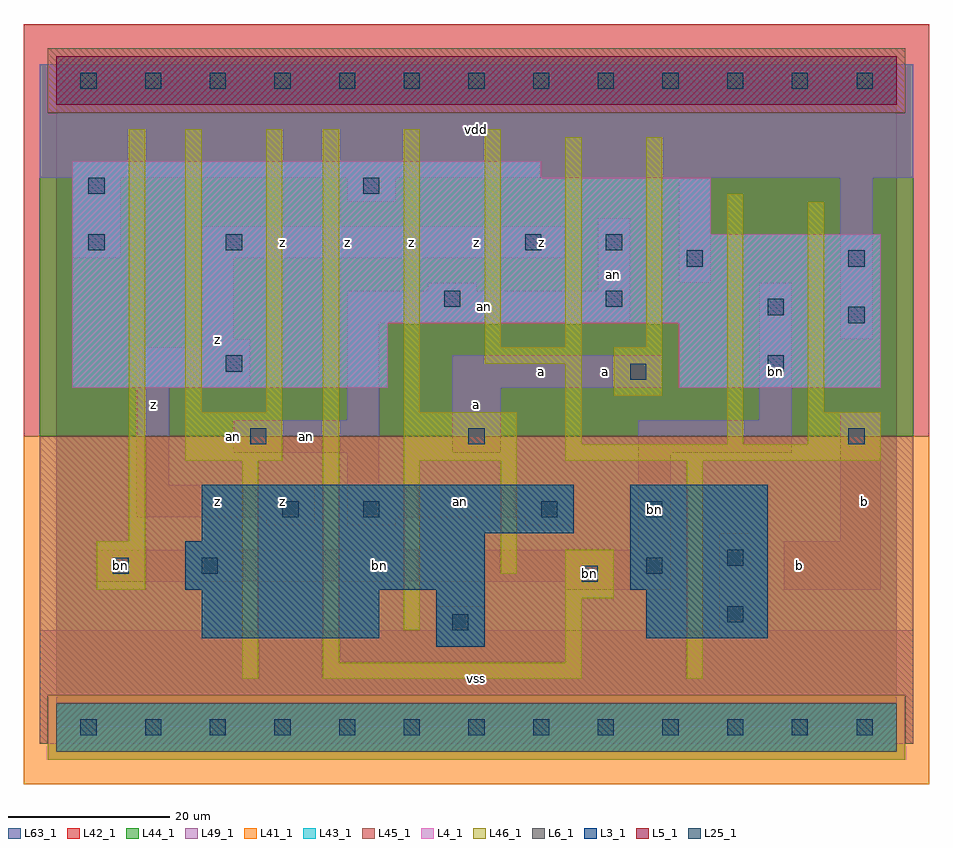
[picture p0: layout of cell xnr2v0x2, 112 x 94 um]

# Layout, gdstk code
import gdstk
lib = gdstk.Library(unit=1e-6, precision=1e-09)
def R(c, l, rs):  # rectangles x0, y0, x1, y1
    for r in rs: c.add(gdstk.rectangle(r[:2], r[2:], *l))
def A(c, l, x, y, w, h, nx, ny, dx, dy):  # array of equal rectangles
    R(c, l, [(x+i*dx, y+j*dy, x+i*dx+w, y+j*dy+h) for i in range(nx) for j in range(ny)])
L3_1 = (3, 1)
L4_1 = (4, 1)
L5_1 = (5, 1)
L6_1 = (6, 1)
L25_1 = (25, 1)
L41_1 = (41, 1)
L42_1 = (42, 1)
L43_1 = (43, 1)
L44_1 = (44, 1)
L45_1 = (45, 1)
L46_1 = (46, 1)
L49_1 = (49, 1)
L63_1 = (63, 1)

xnr2v0x2 = lib.new_cell('xnr2v0x2')
R(xnr2v0x2, L3_1, [(47,10,53,17), (18,11,40,17), (73,11,88,17), (16,17,53,23), (71,17,88,30), (18,23,53,24), (18,24,64,30)])
R(xnr2v0x2, L4_1, [(2,42,41,50), (77,42,102,50), (2,50,102,61), (2,61,81,68), (2,68,60,70)])
R(xnr2v0x2, L5_1, [(0,77,104,83)])
R(xnr2v0x2, L6_1, [(0,-3,104,3), (0,-3,104,3)])
A(xnr2v0x2, L25_1, 3, -1, 2, 2, 13, 2, 8, 80)
R(xnr2v0x2, L25_1, [(49,12,51,14), (83,13,85,15), (65,18,67,20), (7,19,9,21), (18,19,20,21), (73,19,75,21), (83,20,85,22), (28,26,30,28), (38,26,40,28), (60,26,62,28), (73,26,75,28), (24,35,26,37), (51,35,53,37), (98,35,100,37), (71,43,73,45), (21,44,23,46), (88,44,90,46), (98,50,100,52), (88,51,90,53), (48,52,50,54), (68,52,70,54), (78,57,80,59), (98,57,100,59), (4,59,6,61), (21,59,23,61), (58,59,60,61), (68,59,70,61), (4,66,6,68), (38,66,40,68)])
R(xnr2v0x2, L41_1, [(-4,-7,108,36)])
R(xnr2v0x2, L42_1, [(-4,36,108,87)])
R(xnr2v0x2, L43_1, [(0,-3,104,3), (47,10,53,17), (18,11,40,17), (73,11,88,17), (16,17,53,23), (71,17,88,30), (18,23,53,24), (18,24,64,30), (2,42,41,50), (77,42,102,50), (2,50,102,61), (2,61,81,68), (2,68,60,70), (0,77,104,83)])
R(xnr2v0x2, L44_1, [(-1,-4,105,4), (-2,36,106,76), (-2,76,-1,82), (105,76,106,82)])
R(xnr2v0x2, L45_1, [(-2,-2,-1,4), (105,-2,106,4), (-2,4,106,36), (-1,76,105,84)])
R(xnr2v0x2, L46_1, [(23,6,25,33), (33,6,65,8), (78,6,80,33), (33,8,35,74), (63,8,65,16), (43,12,45,33), (63,16,69,22), (5,17,11,23), (55,19,57,33), (9,23,11,74), (16,33,28,39), (43,33,57,39), (63,33,102,35), (63,35,65,45), (83,35,85,66), (93,35,102,39), (16,39,18,74), (26,39,28,74), (43,39,45,74), (93,39,95,65), (69,41,75,47), (53,45,65,47), (53,47,55,74), (63,47,65,73), (73,47,75,73)])
R(xnr2v0x2, L49_1, [(-2,-2,106,12), (47,12,53,15), (82,12,86,24), (63,17,76,18), (90,17,102,23), (5,18,76,22), (72,22,76,34), (97,23,102,39), (26,25,32,26), (36,25,42,26), (58,25,64,26), (10,26,32,30), (36,26,64,30), (10,30,14,42), (36,30,40,34), (22,34,40,38), (49,34,55,42), (72,34,91,38), (36,38,40,50), (87,38,91,55), (10,42,24,47), (49,42,75,46), (18,47,24,48), (18,48,22,58), (97,48,101,68), (36,50,71,54), (46,54,52,55), (67,54,71,63), (77,55,81,68), (2,58,8,68), (18,58,63,62), (36,65,42,68), (-2,68,106,82)])
R(xnr2v0x2, L63_1, [(0,0,104,80)])
xnr2v0x2.add(gdstk.Label('bn', (8,20), layer=49, texttype=1))
xnr2v0x2.add(gdstk.Label('an', (22,36), layer=46, texttype=1))
xnr2v0x2.add(gdstk.Label('bn', (66,19), layer=49, texttype=1))
xnr2v0x2.add(gdstk.Label('z', (12,40), layer=49, texttype=1))
xnr2v0x2.add(gdstk.Label('z', (20,28), layer=49, texttype=1))
xnr2v0x2.add(gdstk.Label('z', (28,28), layer=49, texttype=1))
xnr2v0x2.add(gdstk.Label('an', (31,36), layer=49, texttype=1))
xnr2v0x2.add(gdstk.Label('z', (20,48), layer=49, texttype=1))
xnr2v0x2.add(gdstk.Label('z', (28,60), layer=49, texttype=1))
xnr2v0x2.add(gdstk.Label('z', (36,60), layer=49, texttype=1))
xnr2v0x2.add(gdstk.Label('vss', (52,6), layer=49, texttype=1))
xnr2v0x2.add(gdstk.Label('a', (52,40), layer=49, texttype=1))
xnr2v0x2.add(gdstk.Label('a', (60,44), layer=49, texttype=1))
xnr2v0x2.add(gdstk.Label('z', (44,60), layer=49, texttype=1))
xnr2v0x2.add(gdstk.Label('z', (52,60), layer=49, texttype=1))
xnr2v0x2.add(gdstk.Label('z', (60,60), layer=49, texttype=1))
xnr2v0x2.add(gdstk.Label('vdd', (52,74), layer=49, texttype=1))
xnr2v0x2.add(gdstk.Label('bn', (40,20), layer=49, texttype=1))
xnr2v0x2.add(gdstk.Label('an', (50,28), layer=49, texttype=1))
xnr2v0x2.add(gdstk.Label('bn', (74,27), layer=49, texttype=1))
xnr2v0x2.add(gdstk.Label('a', (68,44), layer=49, texttype=1))
xnr2v0x2.add(gdstk.Label('an', (69,56), layer=49, texttype=1))
xnr2v0x2.add(gdstk.Label('an', (53,52), layer=49, texttype=1))
xnr2v0x2.add(gdstk.Label('b', (92,20), layer=49, texttype=1))
xnr2v0x2.add(gdstk.Label('b', (100,28), layer=49, texttype=1))
xnr2v0x2.add(gdstk.Label('bn', (89,44), layer=49, texttype=1))

lib.write_gds('xnr2v0x2.gds')
